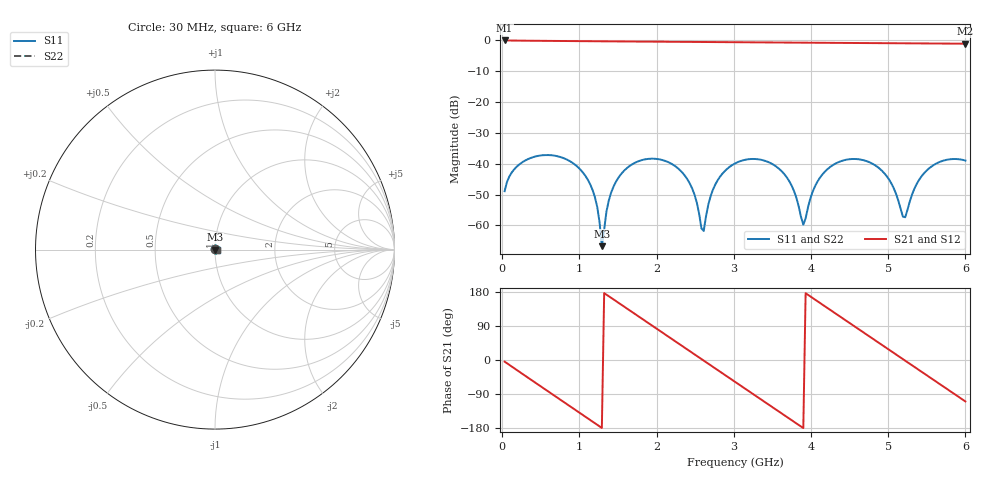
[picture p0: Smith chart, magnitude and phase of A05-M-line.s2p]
! yapnr Order 0 O0-M: O0-M A05 M dL70 (line, family M)
! stackup OSHPARK-4L-FR408HR, nominal parameters; geometry of the OSHPARK-4L-FR408HR design
! model: 2D quasi-static RLGC (Djordjevic-Sarkar, Huray roughness, Wheeler loss); generated by python -m yapnr.rf.coupons expected --stackup OSHPARK-4L-FR408HR --upload M
! reference planes 10 mm from each end; 50 ohm (from the M line's Zc)
# GHz S DB R 50
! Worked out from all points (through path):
!   200 points, 30 MHz to 6 GHz, reference 50 ohm
!   highest |S21| = -0.03 dB at 30 MHz (marker M1); lowest = -1.1 dB at 6 GHz (marker M2)
!   group delay of S21, straight-line fit = 384 ps
!   lowest |S11| = -66.7 dB at 1.29 GHz (marker M3), VSWR 1.00, Z = 50 - j0.0262 ohm
!   |S11| at or under -10 dB: start of sweep to end of sweep
!   |S22| runs from -66.7 to -37.2 dB; largest |S21 - S12| = 0
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0.03  -48.90 39.3  -0.03 -4.3  -0.03 -4.3  -48.90 39.3
0.21  -40.43 24.2  -0.09 -29.5  -0.09 -29.5  -40.43 24.2
0.57  -37.18 -14.9  -0.17 -79.6  -0.17 -79.6  -37.18 -14.9
1.05  -43.02 -71.6  -0.26 -146.1  -0.26 -146.1  -43.02 -71.6
1.2  -50.85 -85.4  -0.29 -166.8  -0.29 -166.8  -50.85 -85.4
1.29  -66.73 -34.6  -0.30 -179.3  -0.30 -179.3  -66.73 -34.6
1.38  -51.89 53.0  -0.32 168.3  -0.32 168.3  -51.89 53.0
1.5  -44.70 43.2  -0.34 151.7  -0.34 151.7  -44.70 43.2
2.04  -38.60 -23.6  -0.44 77.0  -0.44 77.0  -38.60 -23.6
2.4  -45.12 -66.2  -0.50 27.3  -0.50 27.3  -45.12 -66.2
2.61  -61.78 14.4  -0.53 -1.7  -0.53 -1.7  -61.78 14.4
2.76  -46.72 50.0  -0.56 -22.4  -0.56 -22.4  -46.72 50.0
3.03  -39.72 20.1  -0.61 -59.6  -0.61 -59.6  -39.72 20.1
3.3  -38.51 -13.7  -0.65 -96.9  -0.65 -96.9  -38.51 -13.7
3.6  -41.96 -49.8  -0.70 -138.3  -0.70 -138.3  -41.96 -49.8
3.9  -59.77 -9.5  -0.75 -179.7  -0.75 -179.7  -59.77 -9.5
4.02  -49.15 51.0  -0.77 163.8  -0.77 163.8  -49.15 51.0
4.53  -38.47 -2.0  -0.85 93.4  -0.85 93.4  -38.47 -2.0
5.01  -45.08 -55.7  -0.92 27.2  -0.92 27.2  -45.08 -55.7
5.22  -57.35 9.8  -0.95 -1.8  -0.95 -1.8  -57.35 9.8
5.49  -42.40 39.0  -1.00 -39.0  -1.00 -39.0  -42.40 39.0
6  -38.97 -20.3  -1.08 -109.4  -1.08 -109.4  -38.97 -20.3
